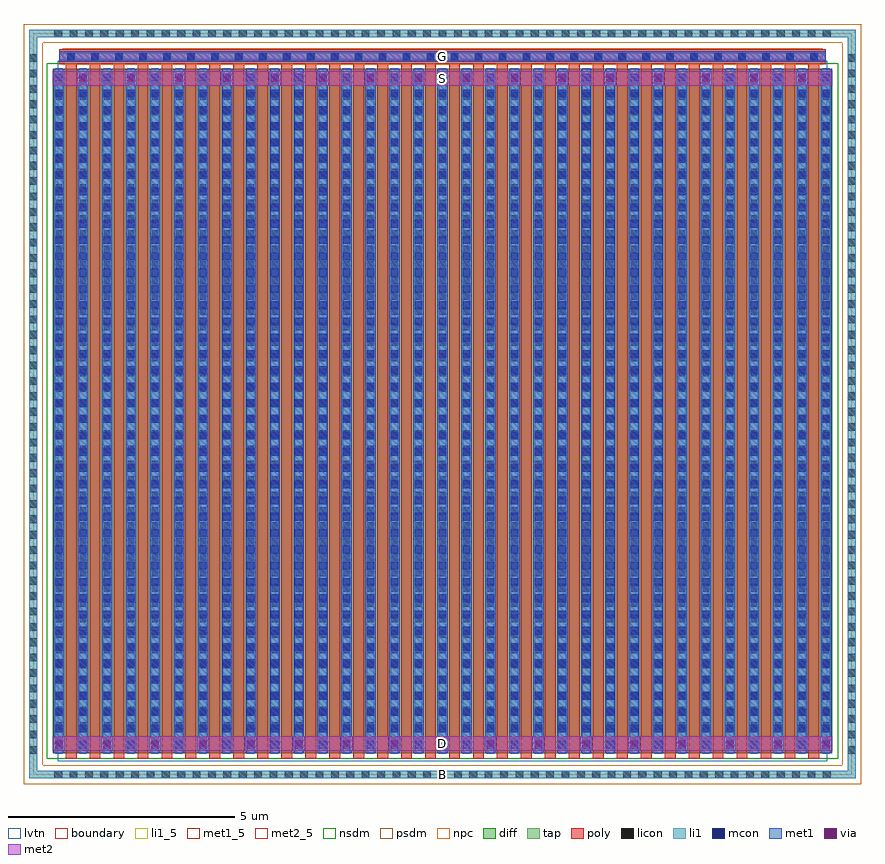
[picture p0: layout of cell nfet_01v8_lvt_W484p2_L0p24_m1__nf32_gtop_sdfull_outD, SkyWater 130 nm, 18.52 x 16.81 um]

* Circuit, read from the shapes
.subckt nfet_01v8_lvt_W484p2_L0p24_m1__nf32_gtop_sdfull_outD B D G S
XM1 S G D B sky130_fd_pr__nfet_01v8_lvt w=15.13 l=0.24 m=32
.ends

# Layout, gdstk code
import gdstk
lib = gdstk.Library(unit=1e-6, precision=1e-09)
def R(c, l, rs):  # rectangles x0, y0, x1, y1
    for r in rs: c.add(gdstk.rectangle(r[:2], r[2:], *l))
def A(c, l, x, y, w, h, nx, ny, dx, dy):  # array of equal rectangles
    R(c, l, [(x+i*dx, y+j*dy, x+i*dx+w, y+j*dy+h) for i in range(nx) for j in range(ny)])
diff = (65, 20)
tap = (65, 44)
poly = (66, 20)
licon = (66, 44)
li1_5 = (67, 5)
li1 = (67, 20)
mcon = (67, 44)
met1_5 = (68, 5)
met1 = (68, 20)
via = (68, 44)
met2_5 = (69, 5)
met2 = (69, 20)
nsdm = (93, 44)
psdm = (94, 20)
npc = (95, 20)
lvtn = (125, 44)
boundary = (235, 4)

sky130_fd_pr__nfet_01v8_ = lib.new_cell('sky130_fd_pr__nfet_01v8_lvt_ZS3C3U')
R(sky130_fd_pr__nfet_01v8_, diff, [(-8.625,-7.72,8.625,7.41)])
R(sky130_fd_pr__nfet_01v8_, tap, [(-9.135,-8.28,9.135,-8.11), (-9.135,-8.11,-8.965,8.11), (8.965,-8.11,9.135,8.11), (-9.135,8.11,9.135,8.28)])
A(sky130_fd_pr__nfet_01v8_, poly, -8.335, -7.85, 0.24, 15.37, 32, 1, 0.53, 0)
R(sky130_fd_pr__nfet_01v8_, poly, [(-8.48,7.52,8.48,7.85)])
A(sky130_fd_pr__nfet_01v8_, licon, -8.585, -8.28, 0.17, 0.17, 51, 2, 0.34, 16.39)
A(sky130_fd_pr__nfet_01v8_, licon, -9.135, -7.735, 0.17, 0.17, 1, 46, 0, 0.34)
A(sky130_fd_pr__nfet_01v8_, licon, 8.965, -7.735, 0.17, 0.17, 1, 46, 0, 0.34)
A(sky130_fd_pr__nfet_01v8_, licon, -8.565, -7.55, 0.17, 0.17, 33, 44, 0.53, 0.34)
A(sky130_fd_pr__nfet_01v8_, licon, -8.3, 7.6, 0.17, 0.17, 32, 1, 0.53, 0)
A(sky130_fd_pr__nfet_01v8_, li1, -8.565, -7.74, 0.17, 15.17, 33, 1, 0.53, 0)
R(sky130_fd_pr__nfet_01v8_, li1, [(-9.135,-8.28,9.135,-8.11), (-9.135,-8.11,-8.965,8.11), (8.965,-8.11,9.135,8.11), (-8.48,7.6,8.48,7.77), (-9.135,8.11,9.135,8.28)])
A(sky130_fd_pr__nfet_01v8_, mcon, -8.565, -7.62, 0.17, 0.17, 33, 42, 0.53, 0.36)
A(sky130_fd_pr__nfet_01v8_, mcon, -8.3, 7.6, 0.17, 0.17, 32, 1, 0.53, 0)
A(sky130_fd_pr__nfet_01v8_, met1, -8.595, -7.72, 0.23, 15.13, 33, 1, 0.53, 0)
A(sky130_fd_pr__nfet_01v8_, met1, -8.36, 7.57, 0.29, 0.03, 32, 2, 0.53, 0.2)
R(sky130_fd_pr__nfet_01v8_, met1, [(-8.48,7.6,8.48,7.77)])
R(sky130_fd_pr__nfet_01v8_, nsdm, [(-8.75,-7.845,8.75,7.535)])
R(sky130_fd_pr__nfet_01v8_, psdm, [(-9.26,-8.405,9.26,-7.985), (-9.26,-7.985,-8.84,7.985), (8.84,-7.985,9.26,7.985), (-9.26,7.985,9.26,8.405)])
R(sky130_fd_pr__nfet_01v8_, npc, [(-8.4,7.5,8.4,7.87)])
R(sky130_fd_pr__nfet_01v8_, lvtn, [(-8.515,-7.9,8.515,7.59)])
R(sky130_fd_pr__nfet_01v8_, boundary, [(-9.05,-8.195,9.05,8.195)])
sky130_fd_pr__nfet_01v8_.add(gdstk.Label('B', (0,-8.195), layer=67, texttype=5))
sky130_fd_pr__nfet_01v8_.add(gdstk.Label('D0', (-8.48,-0.155), layer=67, texttype=5))
sky130_fd_pr__nfet_01v8_.add(gdstk.Label('G', (8.215,7.685), layer=67, texttype=5))
sky130_fd_pr__nfet_01v8_.add(gdstk.Label('G', (7.685,7.685), layer=67, texttype=5))
sky130_fd_pr__nfet_01v8_.add(gdstk.Label('G', (7.155,7.685), layer=67, texttype=5))
sky130_fd_pr__nfet_01v8_.add(gdstk.Label('G', (6.625,7.685), layer=67, texttype=5))
sky130_fd_pr__nfet_01v8_.add(gdstk.Label('G', (6.095,7.685), layer=67, texttype=5))
sky130_fd_pr__nfet_01v8_.add(gdstk.Label('G', (5.565,7.685), layer=67, texttype=5))
sky130_fd_pr__nfet_01v8_.add(gdstk.Label('G', (5.035,7.685), layer=67, texttype=5))
sky130_fd_pr__nfet_01v8_.add(gdstk.Label('G', (4.505,7.685), layer=67, texttype=5))
sky130_fd_pr__nfet_01v8_.add(gdstk.Label('G', (3.975,7.685), layer=67, texttype=5))
sky130_fd_pr__nfet_01v8_.add(gdstk.Label('G', (3.445,7.685), layer=67, texttype=5))
sky130_fd_pr__nfet_01v8_.add(gdstk.Label('G', (2.915,7.685), layer=67, texttype=5))
sky130_fd_pr__nfet_01v8_.add(gdstk.Label('G', (2.385,7.685), layer=67, texttype=5))
sky130_fd_pr__nfet_01v8_.add(gdstk.Label('G', (1.855,7.685), layer=67, texttype=5))
sky130_fd_pr__nfet_01v8_.add(gdstk.Label('G', (1.325,7.685), layer=67, texttype=5))
sky130_fd_pr__nfet_01v8_.add(gdstk.Label('G', (0.795,7.685), layer=67, texttype=5))
sky130_fd_pr__nfet_01v8_.add(gdstk.Label('G', (0.265,7.685), layer=67, texttype=5))
sky130_fd_pr__nfet_01v8_.add(gdstk.Label('G', (-0.265,7.685), layer=67, texttype=5))
sky130_fd_pr__nfet_01v8_.add(gdstk.Label('G', (-0.795,7.685), layer=67, texttype=5))
sky130_fd_pr__nfet_01v8_.add(gdstk.Label('G', (-1.325,7.685), layer=67, texttype=5))
sky130_fd_pr__nfet_01v8_.add(gdstk.Label('G', (-1.855,7.685), layer=67, texttype=5))
sky130_fd_pr__nfet_01v8_.add(gdstk.Label('G', (-2.385,7.685), layer=67, texttype=5))
sky130_fd_pr__nfet_01v8_.add(gdstk.Label('G', (-2.915,7.685), layer=67, texttype=5))
sky130_fd_pr__nfet_01v8_.add(gdstk.Label('G', (-3.445,7.685), layer=67, texttype=5))
sky130_fd_pr__nfet_01v8_.add(gdstk.Label('G', (-3.975,7.685), layer=67, texttype=5))
sky130_fd_pr__nfet_01v8_.add(gdstk.Label('G', (-4.505,7.685), layer=67, texttype=5))
sky130_fd_pr__nfet_01v8_.add(gdstk.Label('G', (-5.035,7.685), layer=67, texttype=5))
sky130_fd_pr__nfet_01v8_.add(gdstk.Label('G', (-5.565,7.685), layer=67, texttype=5))
sky130_fd_pr__nfet_01v8_.add(gdstk.Label('G', (-6.095,7.685), layer=67, texttype=5))
sky130_fd_pr__nfet_01v8_.add(gdstk.Label('G', (-6.625,7.685), layer=67, texttype=5))
sky130_fd_pr__nfet_01v8_.add(gdstk.Label('G', (-7.155,7.685), layer=67, texttype=5))
sky130_fd_pr__nfet_01v8_.add(gdstk.Label('G', (-7.685,7.685), layer=67, texttype=5))
sky130_fd_pr__nfet_01v8_.add(gdstk.Label('G', (-8.215,7.685), layer=67, texttype=5))
sky130_fd_pr__nfet_01v8_.add(gdstk.Label('S1', (-7.95,-0.155), layer=67, texttype=5))
sky130_fd_pr__nfet_01v8_.add(gdstk.Label('D2', (-7.42,-0.155), layer=67, texttype=5))
sky130_fd_pr__nfet_01v8_.add(gdstk.Label('S3', (-6.89,-0.155), layer=67, texttype=5))
sky130_fd_pr__nfet_01v8_.add(gdstk.Label('D4', (-6.36,-0.155), layer=67, texttype=5))
sky130_fd_pr__nfet_01v8_.add(gdstk.Label('S5', (-5.83,-0.155), layer=67, texttype=5))
sky130_fd_pr__nfet_01v8_.add(gdstk.Label('D6', (-5.3,-0.155), layer=67, texttype=5))
sky130_fd_pr__nfet_01v8_.add(gdstk.Label('S7', (-4.77,-0.155), layer=67, texttype=5))
sky130_fd_pr__nfet_01v8_.add(gdstk.Label('D8', (-4.24,-0.155), layer=67, texttype=5))
sky130_fd_pr__nfet_01v8_.add(gdstk.Label('S9', (-3.71,-0.155), layer=67, texttype=5))
sky130_fd_pr__nfet_01v8_.add(gdstk.Label('D10', (-3.18,-0.155), layer=67, texttype=5))
sky130_fd_pr__nfet_01v8_.add(gdstk.Label('S11', (-2.65,-0.155), layer=67, texttype=5))
sky130_fd_pr__nfet_01v8_.add(gdstk.Label('D12', (-2.12,-0.155), layer=67, texttype=5))
sky130_fd_pr__nfet_01v8_.add(gdstk.Label('S13', (-1.59,-0.155), layer=67, texttype=5))
sky130_fd_pr__nfet_01v8_.add(gdstk.Label('D14', (-1.06,-0.155), layer=67, texttype=5))
sky130_fd_pr__nfet_01v8_.add(gdstk.Label('S15', (-0.53,-0.155), layer=67, texttype=5))
sky130_fd_pr__nfet_01v8_.add(gdstk.Label('D16', (0,-0.155), layer=67, texttype=5))
sky130_fd_pr__nfet_01v8_.add(gdstk.Label('S17', (0.53,-0.155), layer=67, texttype=5))
sky130_fd_pr__nfet_01v8_.add(gdstk.Label('D18', (1.06,-0.155), layer=67, texttype=5))
sky130_fd_pr__nfet_01v8_.add(gdstk.Label('S19', (1.59,-0.155), layer=67, texttype=5))
sky130_fd_pr__nfet_01v8_.add(gdstk.Label('D20', (2.12,-0.155), layer=67, texttype=5))
sky130_fd_pr__nfet_01v8_.add(gdstk.Label('S21', (2.65,-0.155), layer=67, texttype=5))
sky130_fd_pr__nfet_01v8_.add(gdstk.Label('D22', (3.18,-0.155), layer=67, texttype=5))
sky130_fd_pr__nfet_01v8_.add(gdstk.Label('S23', (3.71,-0.155), layer=67, texttype=5))
sky130_fd_pr__nfet_01v8_.add(gdstk.Label('D24', (4.24,-0.155), layer=67, texttype=5))
sky130_fd_pr__nfet_01v8_.add(gdstk.Label('S25', (4.77,-0.155), layer=67, texttype=5))
sky130_fd_pr__nfet_01v8_.add(gdstk.Label('D26', (5.3,-0.155), layer=67, texttype=5))
sky130_fd_pr__nfet_01v8_.add(gdstk.Label('S27', (5.83,-0.155), layer=67, texttype=5))
sky130_fd_pr__nfet_01v8_.add(gdstk.Label('D28', (6.36,-0.155), layer=67, texttype=5))
sky130_fd_pr__nfet_01v8_.add(gdstk.Label('S29', (6.89,-0.155), layer=67, texttype=5))
sky130_fd_pr__nfet_01v8_.add(gdstk.Label('D30', (7.42,-0.155), layer=67, texttype=5))
sky130_fd_pr__nfet_01v8_.add(gdstk.Label('S31', (7.95,-0.155), layer=67, texttype=5))

nfet_01v8_lvt_w484p2_l0p = lib.new_cell('nfet_01v8_lvt_W484p2_L0p24_m1__nf32_gtop_sdfull_outD')
R(nfet_01v8_lvt_w484p2_l0p, li1_5, [(8.965,-0.085,9.135,0.085)])
R(nfet_01v8_lvt_w484p2_l0p, li1, [(8.965,-0.085,9.135,0.085)])
R(nfet_01v8_lvt_w484p2_l0p, met1_5, [(0.57,15.765,17.53,15.995)])
A(nfet_01v8_lvt_w484p2_l0p, met1, 0.44, 0.525, 0.26, 0.32, 17, 1, 1.06, 0)
A(nfet_01v8_lvt_w484p2_l0p, met1, 0.97, 15.235, 0.26, 0.32, 16, 1, 1.06, 0)
R(nfet_01v8_lvt_w484p2_l0p, met1, [(0.57,15.765,17.53,15.995)])
A(nfet_01v8_lvt_w484p2_l0p, via, 0.495, 0.61, 0.15, 0.15, 17, 1, 1.06, 0)
A(nfet_01v8_lvt_w484p2_l0p, via, 1.025, 15.32, 0.15, 0.15, 16, 1, 1.06, 0)
R(nfet_01v8_lvt_w484p2_l0p, met2_5, [(0.435,0.525,17.665,0.845), (0.435,15.235,17.665,15.555)])
R(nfet_01v8_lvt_w484p2_l0p, met2, [(0.435,0.525,17.665,0.845), (0.435,15.235,17.665,15.555)])
nfet_01v8_lvt_w484p2_l0p.add(gdstk.Reference(sky130_fd_pr__nfet_01v8_, (9.05,8.195)))
nfet_01v8_lvt_w484p2_l0p.add(gdstk.Label('S', (9.05,15.395), layer=69, texttype=5))
nfet_01v8_lvt_w484p2_l0p.add(gdstk.Label('D', (9.05,0.685), layer=69, texttype=5))
nfet_01v8_lvt_w484p2_l0p.add(gdstk.Label('G', (9.05,15.88), layer=68, texttype=5))
nfet_01v8_lvt_w484p2_l0p.add(gdstk.Label('B', (9.05,0), layer=67, texttype=5))

lib.write_gds('nfet_01v8_lvt_W484p2_L0p24_m1__nf32_gtop_sdfull_outD.gds')
